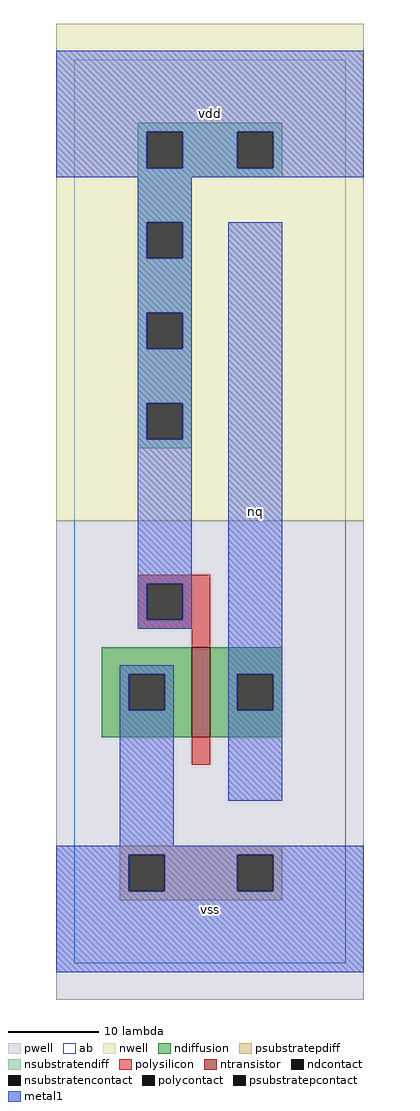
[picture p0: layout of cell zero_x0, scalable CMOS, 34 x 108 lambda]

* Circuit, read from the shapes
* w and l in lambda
.subckt zero_x0 nq vdd vss
M1 nq vdd vss vss nfet w=10 l=2
.ends

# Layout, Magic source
magic
tech scmos
<< ab >>
rect 0 0 30 100
<< pwell >>
rect -2 -4 32 49
<< nwell >>
rect -2 49 32 104
<< polysilicon >>
rect 7 42 15 43
rect 7 38 8 42
rect 12 38 15 42
rect 7 37 15 38
rect 13 35 15 37
rect 13 22 15 25
<< ndiffusion >>
rect 3 32 13 35
rect 3 28 6 32
rect 10 28 13 32
rect 3 25 13 28
rect 15 32 23 35
rect 15 28 18 32
rect 22 28 23 32
rect 15 25 23 28
<< metal1 >>
rect -2 92 32 101
rect -2 88 8 92
rect 12 88 18 92
rect 22 88 32 92
rect -2 87 32 88
rect 7 82 13 87
rect 7 78 8 82
rect 12 78 13 82
rect 7 72 13 78
rect 7 68 8 72
rect 12 68 13 72
rect 7 62 13 68
rect 7 58 8 62
rect 12 58 13 62
rect 7 42 13 58
rect 7 38 8 42
rect 12 38 13 42
rect 7 37 13 38
rect 5 32 11 33
rect 5 28 6 32
rect 10 28 11 32
rect 5 13 11 28
rect 17 32 23 82
rect 17 28 18 32
rect 22 28 23 32
rect 17 18 23 28
rect -2 12 32 13
rect -2 8 6 12
rect 10 8 18 12
rect 22 8 32 12
rect -2 -1 32 8
<< ntransistor >>
rect 13 25 15 35
<< polycontact >>
rect 8 38 12 42
<< ndcontact >>
rect 6 28 10 32
rect 18 28 22 32
<< psubstratepcontact >>
rect 6 8 10 12
rect 18 8 22 12
<< nsubstratencontact >>
rect 8 88 12 92
rect 18 88 22 92
rect 8 78 12 82
rect 8 68 12 72
rect 8 58 12 62
<< psubstratepdiff >>
rect 5 12 23 13
rect 5 8 6 12
rect 10 8 18 12
rect 22 8 23 12
rect 5 7 23 8
<< nsubstratendiff >>
rect 7 92 23 93
rect 7 88 8 92
rect 12 88 18 92
rect 22 88 23 92
rect 7 87 23 88
rect 7 82 13 87
rect 7 78 8 82
rect 12 78 13 82
rect 7 72 13 78
rect 7 68 8 72
rect 12 68 13 72
rect 7 62 13 68
rect 7 58 8 62
rect 12 58 13 62
rect 7 57 13 58
<< labels >>
rlabel metal1 15 6 15 6 6 vss
rlabel metal1 15 6 15 6 6 vss
rlabel metal1 15 94 15 94 6 vdd
rlabel metal1 15 94 15 94 6 vdd
rlabel metal1 20 50 20 50 6 nq
rlabel metal1 20 50 20 50 6 nq
<< end >>
